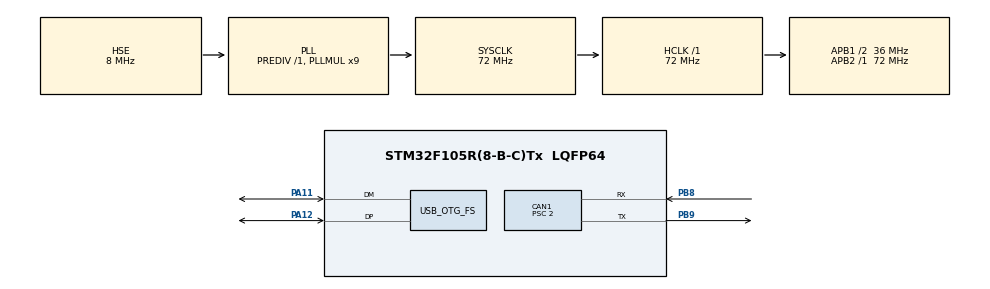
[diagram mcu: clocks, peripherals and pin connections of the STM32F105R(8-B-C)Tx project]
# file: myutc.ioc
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CAN1.BS1=CAN_BS1_15TQ
CAN1.BS2=CAN_BS2_2TQ
CAN1.CalculateBaudRate=1000000
CAN1.CalculateTimeBit=1000
CAN1.CalculateTimeQuantum=55.55555555555556
CAN1.Prescaler=2
Mcu.Family=STM32F1
Mcu.Name=STM32F105R(8-B-C)Tx
Mcu.Package=LQFP64
NVIC.CAN1_RX0_IRQn=true\:0\:0\:false\:false\:true\:true\:true\:true
NVIC.CAN1_TX_IRQn=true\:0\:0\:false\:false\:true\:true\:true\:true
NVIC.OTG_FS_IRQn=true\:0\:0\:false\:false\:true\:false\:true\:true
NVIC.PriorityGroup=NVIC_PRIORITYGROUP_4
PA11.Mode=Device_Only
PA11.Signal=USB_OTG_FS_DM
PA12.Mode=Device_Only
PA12.Signal=USB_OTG_FS_DP
PA13.Mode=Serial_Wire
PA13.Signal=SYS_JTMS-SWDIO
PA14.Mode=Serial_Wire
PA14.Signal=SYS_JTCK-SWCLK
PB8.Mode=CAN_Activate
PB8.Signal=CAN1_RX
PB9.Mode=CAN_Activate
PB9.Signal=CAN1_TX
PD0-OSC_IN.Mode=HSE-External-Oscillator
PD0-OSC_IN.Signal=RCC_OSC_IN
PD1-OSC_OUT.Mode=HSE-External-Oscillator
PD1-OSC_OUT.Signal=RCC_OSC_OUT
ProjectManager.HeapSize=0x200
ProjectManager.StackSize=0x400
ProjectManager.TargetToolchain=MDK-ARM V5.32
RCC.AHBFreq_Value=72000000
RCC.APB1CLKDivider=RCC_HCLK_DIV2
RCC.APB1Freq_Value=36000000
RCC.APB1TimFreq_Value=72000000
RCC.APB2Freq_Value=72000000
RCC.APB2TimFreq_Value=72000000
RCC.HCLKFreq_Value=72000000
RCC.PLLMUL=RCC_PLL_MUL9
RCC.SYSCLKFreq_VALUE=72000000
RCC.SYSCLKSource=RCC_SYSCLKSOURCE_PLLCLK
RCC.USBFreq_Value=48000000
USB_DEVICE.CLASS_NAME_FS=CDC
USB_DEVICE.VirtualMode=Cdc
USB_DEVICE.VirtualModeFS=Cdc_FS
USB_OTG_FS.VirtualMode=Device_Only
VP_USB_DEVICE_VS_USB_DEVICE_CDC_FS.Mode=CDC_FS
board=custom

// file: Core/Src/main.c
/* USER CODE BEGIN Header */
/**
  ******************************************************************************
  * @file           : main.c
  * @brief          : Main program body
  ******************************************************************************
  * @attention
  *
  * Copyright (c) 2022 STMicroelectronics.
  * All rights reserved.
  *
  * This software is licensed under terms that can be found in the LICENSE file
  * in the root directory of this software component.
  * If no LICENSE file comes with this software, it is provided AS-IS.
  *
  ******************************************************************************
  */
/* USER CODE END Header */
#include "main.h"
#include "usb_device.h"

/* USER CODE BEGIN Includes */
#include "usbd_cdc_if.h"
/* USER CODE END Includes */

/* USER CODE BEGIN PTD */
static FLASH_EraseInitTypeDef Erase_struct;
CAN_TxHeaderTypeDef TxHeader;
CAN_RxHeaderTypeDef RxHeader;
/* USER CODE END PTD */

/* USER CODE BEGIN PD */
#define APP_START_ADDRESS  0x08002400  //ADDR of main programm memory to jump

#define BUF_SIZE 2048 // 2^13
#define BUF_MASK (BUF_SIZE - 1)
/* USER CODE END PD */

CAN_HandleTypeDef hcan1;

/* USER CODE BEGIN PV */
uint8_t FLAG_DOWNLOAD_START = 0;
uint8_t FLAG_DOWNLOAD_OVER = 0;
uint8_t FLAG_DEVICE_READY = 0;
uint8_t cell_ok = 0;
uint8_t buf_tx[8] = {'S','T','A','R','T','F','F','F'};
uint8_t buf_rx_0[8];
uint8_t buf_rx_1[8];
uint8_t buf_rx_2[8];
uint8_t word_1[8] = {0};
uint8_t word_2[8] = {0};
uint8_t word_3[8] = {0};
uint8_t word_4[8] = {0};
uint8_t response_msg = 1;
uint8_t cells_count = 0;
uint8_t status_can_tx = 0x01U;
uint8_t RXmsgData[8];
uint32_t erase_error = 0;
uint32_t program_data_1 = 0;
uint32_t program_data_2 = 0;
uint32_t program_data_3 = 0;
uint32_t program_data_4 = 0;
uint32_t data_tx[2];
uint32_t mailBox_0 = CAN_TX_MAILBOX0;
uint32_t mailBox_1 = CAN_TX_MAILBOX1;
uint32_t mailBox_2 = CAN_TX_MAILBOX2;
uint32_t counter_feedback_msg = 0;
uint32_t RAM_buf_counter = 0;
uint32_t RAM_buf_counter_2 = 0;
//uint32_t RAM_buf[8000];
uint64_t count_pages = 0;
uint64_t address_data = APP_START_ADDRESS;
uint64_t address_data_2 = APP_START_ADDRESS;
uint8_t circuit_id = 0;

uint32_t circle[BUF_SIZE] = {0};
uint32_t tail = 0, head = 0;

char *feedback = "f";
/* USER CODE END PV */

void SystemClock_Config(void);
static void MX_GPIO_Init(void);
static void MX_CAN1_Init(void);

/* USER CODE BEGIN 0 */
void Ascii_To_Hex( uint8_t* buff, uint8_t count) //??????? ???????? ???? ? ????
{
    uint8_t i;

    for(i=0; i<count; i++)
    {
        if(buff[i] <= '9' && buff[i] >= '0' )
        {
            buff[i] -= 0x30;
        }
        else
        {
            buff[i] = buff[i] - 0x41 + 10;
        }
    }
}

void reset_variables() {
    FLAG_DOWNLOAD_START = 0;
    FLAG_DOWNLOAD_OVER = 0;
    FLAG_DEVICE_READY = 0;
    cell_ok = 1;
    response_msg = 1;
    cells_count = 0;
    status_can_tx = 0x01U;

    erase_error = 0;
    program_data_1 = 0;
    program_data_2 = 0;
    program_data_3 = 0;
    program_data_4 = 0;
    counter_feedback_msg = 0;
    RAM_buf_counter = 0;
    RAM_buf_counter_2 = 0;
    count_pages = 0;

    circuit_id = 0;

    tail = 0;
    head = 0;
}
/* USER CODE END 0 */

int main(void)
{

    /* MCU Configuration--------------------------------------------------------*/

    /* Reset of all peripherals, Initializes the Flash interface and the Systick. */
    HAL_Init();

    /* Configure the system clock */
    SystemClock_Config();

    /* Initialize all configured peripherals */

    MX_GPIO_Init();
    HAL_Delay(500);
    MX_USB_DEVICE_Init();
    MX_CAN1_Init();
    /* USER CODE BEGIN 2 */
    HAL_CAN_Start(&hcan1);
    HAL_CAN_ActivateNotification(&hcan1, CAN_IT_RX_FIFO0_MSG_PENDING);

    TxHeader.StdId = 0x200;
    TxHeader.DLC = 8;
    TxHeader.TransmitGlobalTime = DISABLE;
    TxHeader.RTR = CAN_RTR_DATA;
    TxHeader.IDE = CAN_ID_STD;

    /* USER CODE END 2 */

    /* Infinite loop */
    while (1)
    {

        /* USER CODE BEGIN 3 */
        if(/*(FLAG_DOWNLOAD_OVER == 1) &&*/ (FLAG_DOWNLOAD_START == 0) && (FLAG_DEVICE_READY == 1)) { //???? ??????????? ???????? ???????? ? ?????????? ? ??????????? ?????????? ?????? ? ?????? ????????, ??

            while((RAM_buf_counter_2 <  RAM_buf_counter) && (cell_ok == 1)) { //???? ??????? ???????????? ? ??? ????????? ??? ?????? ?????????? ???? ???????? ? ??????? ????? ?? ???????????? ??????????, ??
                buf_tx[0] = circle[tail] >> 24; // ?????? ? ????? ???????? ???? ?????? ?? ?????? ????????
                buf_tx[1] = circle[tail] >> 16;
                buf_tx[2] = circle[tail] >> 8;
                buf_tx[3] = circle[tail++];
                tail &= BUF_MASK;
                buf_tx[4] = circle[tail] >> 24;
                buf_tx[5] = circle[tail] >> 16;
                buf_tx[6] = circle[tail] >> 8;
                buf_tx[7] = circle[tail++];
                tail &= BUF_MASK;
                RAM_buf_counter_2 += 2;
                status_can_tx = HAL_CAN_AddTxMessage(&hcan1, &TxHeader, buf_tx, &mailBox_0); // ???????? ????????? ? ???				// need to be changed!!!!!!!!!!!!!!!!!!!!
                cells_count += 2;
                cell_ok = 0; //????? ????? ???????? ????? ? ???????????
                while(status_can_tx != HAL_OK) { //???????? ?????????? ???????? ????????? ? ???

                }
            }
            if (RAM_buf_counter_2 >= RAM_buf_counter)	{ //???? ??????? ???????????? ????????? ????? ??? ????????? ??????? ???????? ? ?? ???? ???????, ??
                buf_tx[0] = 'E';
                buf_tx[1] = 'N';
                buf_tx[2] = 'D';
                HAL_CAN_AddTxMessage(&hcan1, &TxHeader, buf_tx, &mailBox_0); //?????????? end ? ???????? ?? ??????????
                HAL_Delay(100); // ???? 100 ???
                reset_variables();
                NVIC_SystemReset(); // ????????????????
            }
        }
        else if(FLAG_DOWNLOAD_START == 1) { //???? ???????? ????????, ??
            TxHeader.StdId = 0x7F0 + circuit_id;
            HAL_CAN_AddTxMessage(&hcan1, &TxHeader, buf_tx, &mailBox_0); // ?????????? ?????????? ? ???, ??? ???????? ????????
            FLAG_DOWNLOAD_START = 0; // ????? ????? ?????? ????????
        }
				//CDC_Transmit_FS((uint8_t *)feedback, 1);
				//HAL_Delay(500);
    }
}
/* USER CODE END 3 */

void SystemClock_Config(void)
{
    RCC_OscInitTypeDef RCC_OscInitStruct = {0};
    RCC_ClkInitTypeDef RCC_ClkInitStruct = {0};
    RCC_PeriphCLKInitTypeDef PeriphClkInit = {0};

    /** Initializes the RCC Oscillators according to the specified parameters
    * in the RCC_OscInitTypeDef structure.
    */
    RCC_OscInitStruct.OscillatorType = RCC_OSCILLATORTYPE_HSE;
    RCC_OscInitStruct.HSEState = RCC_HSE_ON;
    RCC_OscInitStruct.HSEPredivValue = RCC_HSE_PREDIV_DIV1;
    RCC_OscInitStruct.HSIState = RCC_HSI_ON;
    RCC_OscInitStruct.Prediv1Source = RCC_PREDIV1_SOURCE_HSE;
    RCC_OscInitStruct.PLL.PLLState = RCC_PLL_ON;
    RCC_OscInitStruct.PLL.PLLSource = RCC_PLLSOURCE_HSE;
    RCC_OscInitStruct.PLL.PLLMUL = RCC_PLL_MUL9;
    RCC_OscInitStruct.PLL2.PLL2State = RCC_PLL_NONE;
    if (HAL_RCC_OscConfig(&RCC_OscInitStruct) != HAL_OK)
    {
        Error_Handler();
    }

    /** Initializes the CPU, AHB and APB buses clocks
    */
    RCC_ClkInitStruct.ClockType = RCC_CLOCKTYPE_HCLK|RCC_CLOCKTYPE_SYSCLK
                                  |RCC_CLOCKTYPE_PCLK1|RCC_CLOCKTYPE_PCLK2;
    RCC_ClkInitStruct.SYSCLKSource = RCC_SYSCLKSOURCE_PLLCLK;
    RCC_ClkInitStruct.AHBCLKDivider = RCC_SYSCLK_DIV1;
    RCC_ClkInitStruct.APB1CLKDivider = RCC_HCLK_DIV2;
    RCC_ClkInitStruct.APB2CLKDivider = RCC_HCLK_DIV1;

    if (HAL_RCC_ClockConfig(&RCC_ClkInitStruct, FLASH_LATENCY_2) != HAL_OK)
    {
        Error_Handler();
    }
    PeriphClkInit.PeriphClockSelection = RCC_PERIPHCLK_USB;
    PeriphClkInit.UsbClockSelection = RCC_USBCLKSOURCE_PLL_DIV3;
    if (HAL_RCCEx_PeriphCLKConfig(&PeriphClkInit) != HAL_OK)
    {
        Error_Handler();
    }

    /** Configure the Systick interrupt time
    */
    __HAL_RCC_PLLI2S_ENABLE();
}

static void MX_CAN1_Init(void)
{

    hcan1.Instance = CAN1;
    hcan1.Init.Prescaler = 2;
    hcan1.Init.Mode = CAN_MODE_NORMAL;
    hcan1.Init.SyncJumpWidth = CAN_SJW_1TQ;
    hcan1.Init.TimeSeg1 = CAN_BS1_15TQ;
    hcan1.Init.TimeSeg2 = CAN_BS2_2TQ;
    hcan1.Init.TimeTriggeredMode = DISABLE;
    hcan1.Init.AutoBusOff = DISABLE;
    hcan1.Init.AutoWakeUp = DISABLE;
    hcan1.Init.AutoRetransmission = DISABLE;
    hcan1.Init.ReceiveFifoLocked = DISABLE;
    hcan1.Init.TransmitFifoPriority = DISABLE;
    if (HAL_CAN_Init(&hcan1) != HAL_OK)
    {
        Error_Handler();
    }
    /* USER CODE BEGIN CAN1_Init 2 */
    CAN_FilterTypeDef canFilterConfig;
    canFilterConfig.FilterBank = 0;
    canFilterConfig.FilterMode = CAN_FILTERMODE_IDLIST;
    canFilterConfig.FilterScale = CAN_FILTERSCALE_32BIT;
    canFilterConfig.FilterIdHigh = 0x07F0<<5;
    canFilterConfig.FilterIdLow = 0x0000;
    canFilterConfig.FilterMaskIdHigh = 0x0000;
    canFilterConfig.FilterMaskIdLow = 0x0000;
    canFilterConfig.FilterFIFOAssignment = CAN_RX_FIFO0;
    canFilterConfig.FilterActivation = ENABLE;
    canFilterConfig.SlaveStartFilterBank = 14;
    HAL_CAN_ConfigFilter(&hcan1, &canFilterConfig);
    /* USER CODE END CAN1_Init 2 */

}

static void MX_GPIO_Init(void)
{

    /* GPIO Ports Clock Enable */
    __HAL_RCC_GPIOD_CLK_ENABLE();
    __HAL_RCC_GPIOA_CLK_ENABLE();
    __HAL_RCC_GPIOB_CLK_ENABLE();

}

/* USER CODE BEGIN 4 */
void HAL_CAN_RxFifo0MsgPendingCallback(CAN_HandleTypeDef *hcan)
{
    cell_ok = 1; //??? ??????? ????????? ???????? ????? ? ????????????????????? ???? ? 1
    HAL_CAN_GetRxMessage(hcan, CAN_RX_FIFO0, &RxHeader, RXmsgData); //
    if (counter_feedback_msg == 0) { //???? ?????? ???????? ?????????
        FLAG_DEVICE_READY = 1; //????????, ??? ??????????? ?????????? ?????? ? ????????????
    }
    cell_ok = 1;
    counter_feedback_msg++; // ??????????? ???? ???????? ?????????
    //CDC_Transmit_FS((uint8_t *)RXmsgData, strlen(RXmsgData));
    /*if(RXmsgData[0] == 'E' && RXmsgData[1] == 'N' && RXmsgData[2] == 'D')	{
    		HAL_FLASH_Lock();
    		HAL_GPIO_TogglePin(GPIOK, GPIO_PIN_3);
    		HAL_GPIO_TogglePin(GPIOD, GPIO_PIN_5);
    }
    else	{
    	strcpy(buf_rx, RXmsgData);
    	Ascii_To_Hex(buf_rx, 8);
    	for(int i=0; i<8;i=i+2)	{
    		buf_rx[i] <<= 4;
    		buf_rx[i] = buf_rx[i] | buf_rx[i+1];
    		program_data_1 |= buf_rx[i] <<(i*4);
    	}
    		HAL_FLASH_Program(FLASH_TYPEPROGRAM_WORD,  address_data, program_data_1);
    		for(int i2 = 0; i2 <= 7; i2++) {
    					buf_rx[i2] = 'F';
    					RXmsgData[i2] = 'F';
    				}
    		address_data = address_data + 4;
    		program_data_1 = 0;
    }*/
}
/* USER CODE END 4 */

void Error_Handler(void)
{
    __disable_irq();
    while (1)
    {
    }
}
